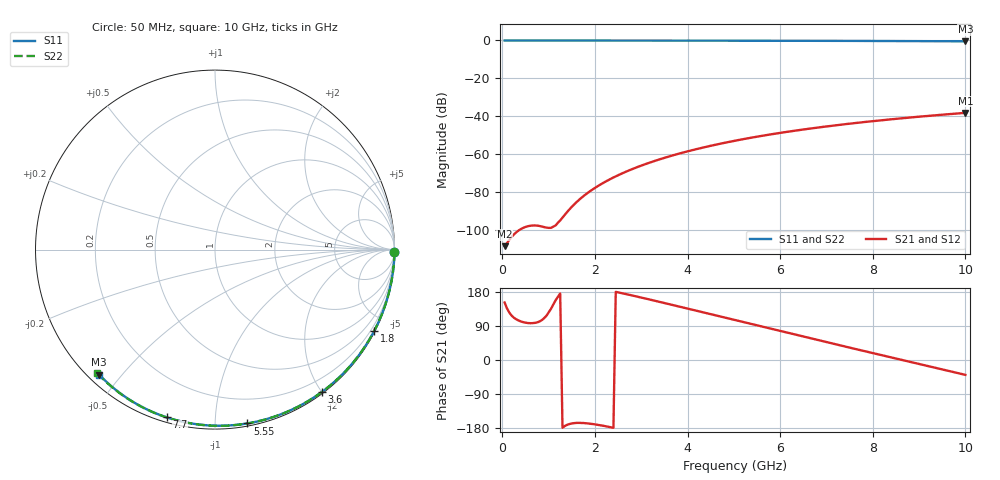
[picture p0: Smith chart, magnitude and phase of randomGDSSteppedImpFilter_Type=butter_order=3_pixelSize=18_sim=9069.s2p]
! freq	dB(S11)	phase(S11)	dB(S12)	phase(S12)
!  dB(S21)	phase(S21)	dB(S22)	phase(S22)
!S-par simulation data
#  GHz  S  DB  R 50
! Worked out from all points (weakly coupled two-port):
!   200 points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, 50 MHz to 10 GHz, reference 50 ohm
!   highest |S21| = -38.25 dB at 10 GHz (marker M1); lowest = -108.7 dB at 50 MHz (marker M2)
!   lowest |S11| = -0.4 dB at 10 GHz (marker M3), VSWR 38.66, Z = 1.54 - j21.8 ohm
!   |S11| at or under -10 dB: nowhere
!   |S22| runs from -0.4 to 0.0 dB; largest |S21 - S12| = 0
!   S11 on the Smith chart (normalised r, x): 50 MHz: open; 1.8 GHz: 0.04, -4.13; 3.6 GHz: 0.02, -2.00; 5.55 GHz: 0.02, -1.20; 7.7 GHz: 0.02, -0.75; 10 GHz: 0.03, -0.44
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0.05  -0.00 -0.8  -108.65 151.8  -108.65 151.8  -0.00 -0.8
0.9  -0.02 -13.7  -98.55 110.0  -98.55 110.0  -0.02 -13.8
1.75  -0.03 -26.5  -82.28 -166.3  -82.28 -166.3  -0.03 -26.6
1.8  -0.03 -27.2  -81.32 -166.8  -81.32 -166.8  -0.03 -27.3
1.85  -0.04 -28.0  -80.41 -167.4  -80.41 -167.4  -0.04 -28.1
1.9  -0.04 -28.7  -79.53 -168.1  -79.53 -168.1  -0.04 -28.8
2.05  -0.04 -30.9  -77.11 -170.8  -77.11 -170.8  -0.04 -31.0
2.25  -0.04 -33.8  -74.27 -175.2  -74.27 -175.2  -0.04 -34.0
2.45  -0.05 -36.8  -71.77 179.8  -71.77 179.8  -0.05 -36.9
2.65  -0.05 -39.7  -69.53 174.5  -69.53 174.5  -0.05 -39.8
3  -0.06 -44.7  -66.11 164.8  -66.11 164.8  -0.06 -44.9
3.4  -0.07 -50.4  -62.76 153.3  -62.76 153.3  -0.07 -50.6
3.6  -0.07 -53.2  -61.27 147.5  -61.27 147.5  -0.07 -53.4
4.3  -0.09 -62.9  -56.76 126.8  -56.76 126.8  -0.09 -63.1
5.05  -0.11 -72.9  -52.84 104.5  -52.84 104.5  -0.11 -73.2
5.55  -0.13 -79.4  -50.61 89.7  -50.61 89.7  -0.13 -79.8
6.1  -0.15 -86.5  -48.44 73.4  -48.44 73.4  -0.15 -86.8
6.7  -0.18 -94.0  -46.36 55.8  -46.36 55.8  -0.18 -94.4
7.7  -0.24 -106.1  -43.41 26.9  -43.41 26.9  -0.24 -106.6
8.35  -0.29 -113.8  -41.76 8.3  -41.76 8.3  -0.29 -114.3
9.15  -0.36 -123.0  -39.94 -14.6  -39.94 -14.6  -0.36 -123.7
10  -0.45 -132.8  -38.25 -39.2  -38.25 -39.2  -0.44 -133.8
